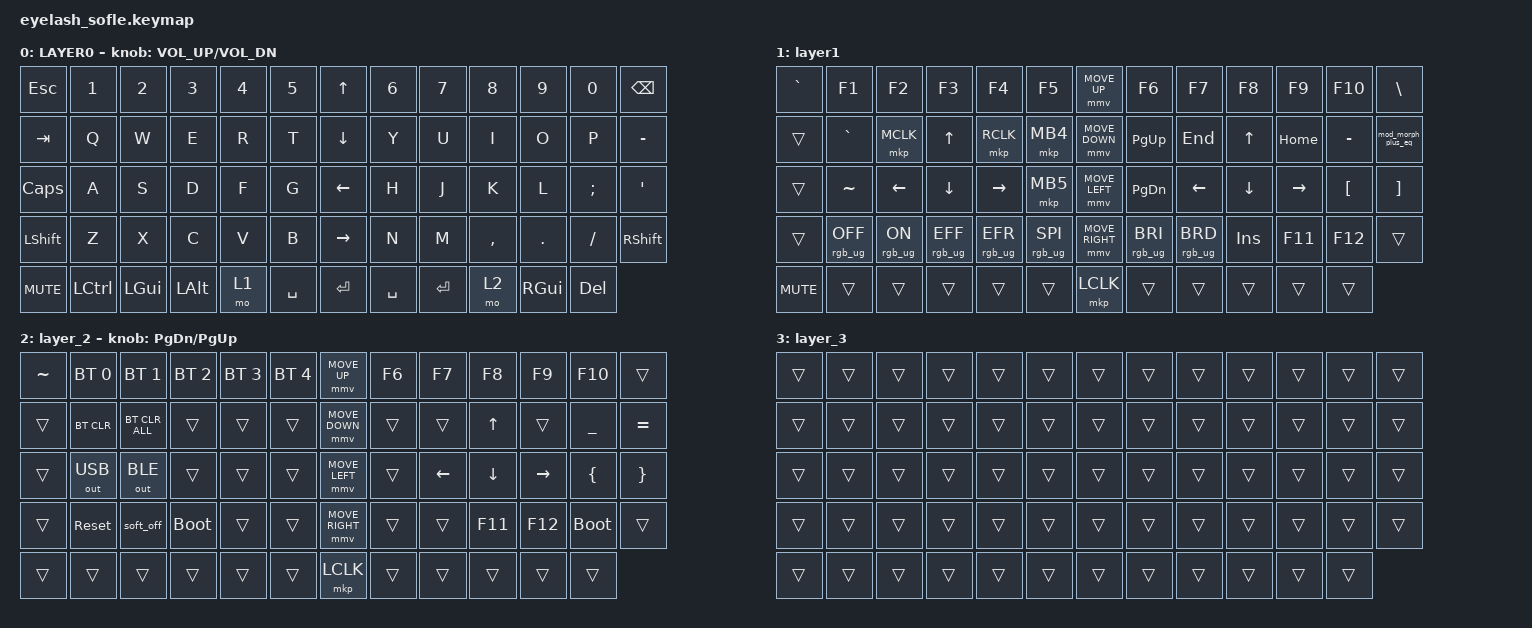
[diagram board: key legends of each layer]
#define ZMK_POINTING_DEFAULT_MOVE_VAL 1200  // 600
#define ZMK_POINTING_DEFAULT_SCRL_VAL 25   // 10

#include <input/processors.dtsi>
#include <zephyr/dt-bindings/input/input-event-codes.h>
#include <behaviors.dtsi>
#include <dt-bindings/zmk/bt.h>
#include <dt-bindings/zmk/keys.h>
#include <dt-bindings/zmk/outputs.h>
#include <dt-bindings/zmk/pointing.h>
#include <dt-bindings/zmk/rgb.h>

&mmv_input_listener { input-processors = <&zip_xy_scaler 2 1>; };

&msc_input_listener { input-processors = <&zip_scroll_scaler 2 1>; };

&msc {
    acceleration-exponent = <1>;      // 0
    time-to-max-speed-ms = <100>;       // 300
    delay-ms = <0>;                   // 0
};

&mmv {
    time-to-max-speed-ms = <500>;
    acceleration-exponent = <1>;
    trigger-period-ms = <16>;
};

/ {
    scroll_encoder: scroll_encoder {
        compatible = "zmk,behavior-sensor-rotate";
        #sensor-binding-cells = <0>;
        bindings = <&msc SCRL_DOWN>, <&msc SCRL_UP>;

        tap-ms = <100>;
    };

    behaviors {
        mod_morph_plus_eq: mod_morph_plus_eq {
            compatible = "zmk,behavior-mod-morph";
            label = "MOD_MORPH_PLUS_EQ";
            #binding-cells = <0>;
            bindings = <&kp PLUS>, <&kp EQUAL>;

            mods = <(MOD_LSFT|MOD_RSFT)>;
        };

        mod_morph_left_brace: mod_morph_left_brace {
            compatible = "zmk,behavior-mod-morph";
            label = "MOD_MORPH_LEFT_BRACE";
            #binding-cells = <0>;
            bindings = <&kp LEFT_BRACE>, <&kp LEFT_BRACKET>;

            mods = <(MOD_LSFT|MOD_RSFT)>;
        };

        mod_morph_right_brace: mod_morph_right_brace {
            compatible = "zmk,behavior-mod-morph";
            label = "MOD_MORPH_RIGHT_BRACE";
            #binding-cells = <0>;
            bindings = <&kp RIGHT_BRACE>, <&kp RIGHT_BRACKET>;

            mods = <(MOD_LSFT|MOD_RSFT)>;
        };
    };

    keymap {
        compatible = "zmk,keymap";

        layer0 {
            bindings = <
&kp ESC     &kp N1     &kp N2        &kp N3        &kp N4  &kp N5       &kp UP_ARROW     &kp N6     &kp N7     &kp N8     &kp N9         &kp N0      &kp BACKSPACE
&kp TAB     &kp Q      &kp W         &kp E         &kp R   &kp T        &kp DOWN_ARROW   &kp Y      &kp U      &kp I      &kp O          &kp P       &kp MINUS
&kp CAPS    &kp A      &kp S         &kp D         &kp F   &kp G        &kp LEFT_ARROW   &kp H      &kp J      &kp K      &kp L          &kp SEMI    &kp APOS
&kp LSHFT   &kp Z      &kp X         &kp C         &kp V   &kp B        &kp RIGHT_ARROW  &kp N      &kp M      &kp COMMA  &kp DOT        &kp FSLH    &kp RIGHT_SHIFT
&kp C_MUTE  &kp LCTRL  &kp LEFT_GUI  &kp LEFT_ALT  &mo 1   &kp SPACE    &kp ENTER        &kp SPACE  &kp ENTER  &mo 2      &kp RIGHT_GUI  &kp DELETE
            >;

            sensor-bindings = <&inc_dec_kp C_VOLUME_UP C_VOL_DN>;
            display-name = "LAYER0";
        };

        layer_1 {
            bindings = <
&kp GRAVE   &kp F1           &kp F2          &kp F3           &kp F4           &kp F5             &mmv MOVE_UP     &kp F6           &kp F7           &kp F8      &kp F9     &kp F10           &kp BACKSLASH
&trans      &kp GRAVE        &mkp MCLK       &kp UP_ARROW     &mkp RCLK        &mkp MB4           &mmv MOVE_DOWN   &kp PG_UP        &kp END          &kp UP      &kp HOME   &kp MINUS         &mod_morph_plus_eq
&trans      &kp TILDE        &kp LEFT        &kp DOWN         &kp RIGHT        &mkp MB5           &mmv MOVE_LEFT   &kp PG_DN        &kp LEFT         &kp DOWN    &kp RIGHT  &kp LEFT_BRACKET  &kp RIGHT_BRACKET
&trans      &rgb_ug RGB_OFF  &rgb_ug RGB_ON  &rgb_ug RGB_EFF  &rgb_ug RGB_EFR  &rgb_ug RGB_SPI    &mmv MOVE_RIGHT  &rgb_ug RGB_BRI  &rgb_ug RGB_BRD  &kp INSERT  &kp F11    &kp F12           &trans
&kp C_MUTE  &trans           &trans          &trans           &trans           &trans             &mkp LCLK        &trans           &trans           &trans      &trans     &trans
            >;

            display-name = "layer1";
        };

        layer_2 {
            bindings = <
&kp TILDE  &bt BT_SEL 0  &bt BT_SEL 1    &bt BT_SEL 2  &bt BT_SEL 3  &bt BT_SEL 4    &mmv MOVE_UP     &kp F6  &kp F7    &kp F8        &kp F9     &kp F10         &trans
&trans     &bt BT_CLR    &bt BT_CLR_ALL  &trans        &trans        &trans          &mmv MOVE_DOWN   &trans  &trans    &kp UP_ARROW  &trans     &kp UNDER       &kp EQUAL
&trans     &out OUT_USB  &out OUT_BLE    &trans        &trans        &trans          &mmv MOVE_LEFT   &trans  &kp LEFT  &kp DOWN      &kp RIGHT  &kp LEFT_BRACE  &kp RIGHT_BRACE
&trans     &sys_reset    &soft_off       &bootloader   &trans        &trans          &mmv MOVE_RIGHT  &trans  &trans    &kp F11       &kp F12    &bootloader     &trans
&trans     &trans        &trans          &trans        &trans        &trans          &mkp LCLK        &trans  &trans    &trans        &trans     &trans
            >;

            sensor-bindings = <&inc_dec_kp PAGE_DOWN PAGE_UP>;
        };

        layer_3 {
            bindings = <
&trans  &trans  &trans  &trans  &trans  &trans    &trans  &trans  &trans  &trans  &trans  &trans  &trans
&trans  &trans  &trans  &trans  &trans  &trans    &trans  &trans  &trans  &trans  &trans  &trans  &trans
&trans  &trans  &trans  &trans  &trans  &trans    &trans  &trans  &trans  &trans  &trans  &trans  &trans
&trans  &trans  &trans  &trans  &trans  &trans    &trans  &trans  &trans  &trans  &trans  &trans  &trans
&trans  &trans  &trans  &trans  &trans  &trans    &trans  &trans  &trans  &trans  &trans  &trans
            >;
        };
    };
};
